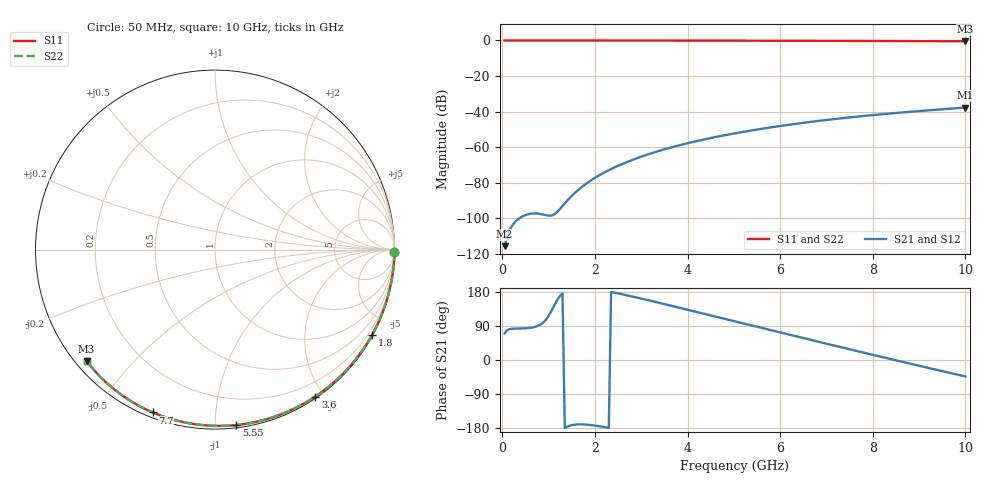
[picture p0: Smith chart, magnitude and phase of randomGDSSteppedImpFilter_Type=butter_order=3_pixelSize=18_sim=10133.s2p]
! freq	dB(S11)	phase(S11)	dB(S12)	phase(S12)
!  dB(S21)	phase(S21)	dB(S22)	phase(S22)
!S-par simulation data
#  GHz  S  DB  R 50
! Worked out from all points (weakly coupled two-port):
!   200 points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, 50 MHz to 10 GHz, reference 50 ohm
!   highest |S21| = -37.77 dB at 10 GHz (marker M1); lowest = -115.8 dB at 50 MHz (marker M2)
!   lowest |S11| = -0.5 dB at 10 GHz (marker M3), VSWR 36.95, Z = 1.54 - j18.7 ohm
!   |S11| at or under -10 dB: nowhere
!   |S22| runs from -0.5 to 0.0 dB; largest |S21 - S12| = 0
!   S11 on the Smith chart (normalised r, x): 50 MHz: open; 1.8 GHz: 0.03, -3.93; 3.6 GHz: 0.02, -1.89; 5.55 GHz: 0.02, -1.13; 7.7 GHz: 0.02, -0.69; 10 GHz: 0.03, -0.37
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0.05  -0.00 -0.8  -115.80 70.0  -115.80 70.0  -0.00 -0.8
0.45  -0.01 -7.2  -98.85 83.4  -98.85 83.4  -0.01 -7.2
0.9  -0.02 -14.4  -98.11 100.9  -98.11 100.9  -0.02 -14.4
1.75  -0.04 -27.7  -81.80 -170.0  -81.80 -170.0  -0.04 -27.7
1.8  -0.04 -28.5  -80.82 -170.4  -80.82 -170.4  -0.04 -28.5
1.85  -0.04 -29.3  -79.90 -170.9  -79.90 -170.9  -0.04 -29.3
2  -0.04 -31.6  -77.35 -173.0  -77.35 -173.0  -0.04 -31.6
2.15  -0.04 -33.9  -75.08 -175.9  -75.08 -175.9  -0.04 -33.9
2.35  -0.05 -37.0  -72.38 179.5  -72.38 179.5  -0.05 -37.0
2.55  -0.05 -40.0  -69.99 174.5  -69.99 174.5  -0.05 -40.0
2.95  -0.06 -46.1  -65.89 163.5  -65.89 163.5  -0.06 -46.1
3.4  -0.07 -52.8  -62.06 150.5  -62.06 150.5  -0.07 -52.8
3.6  -0.07 -55.7  -60.56 144.6  -60.56 144.6  -0.07 -55.7
4.3  -0.09 -65.8  -56.06 123.6  -56.06 123.6  -0.09 -65.8
5.05  -0.12 -76.3  -52.15 101.1  -52.15 101.1  -0.12 -76.3
5.55  -0.14 -83.1  -49.94 86.2  -49.94 86.2  -0.14 -83.1
6.1  -0.16 -90.4  -47.78 69.8  -47.78 69.8  -0.16 -90.4
6.7  -0.19 -98.2  -45.70 51.9  -45.70 51.9  -0.19 -98.2
7.7  -0.25 -110.9  -42.78 22.4  -42.78 22.4  -0.25 -110.9
8.35  -0.30 -119.0  -41.17 3.5  -41.17 3.5  -0.30 -119.0
9.2  -0.38 -129.3  -39.33 -20.9  -39.33 -20.9  -0.38 -129.3
10  -0.47 -139.0  -37.77 -43.5  -37.77 -43.5  -0.47 -139.0
